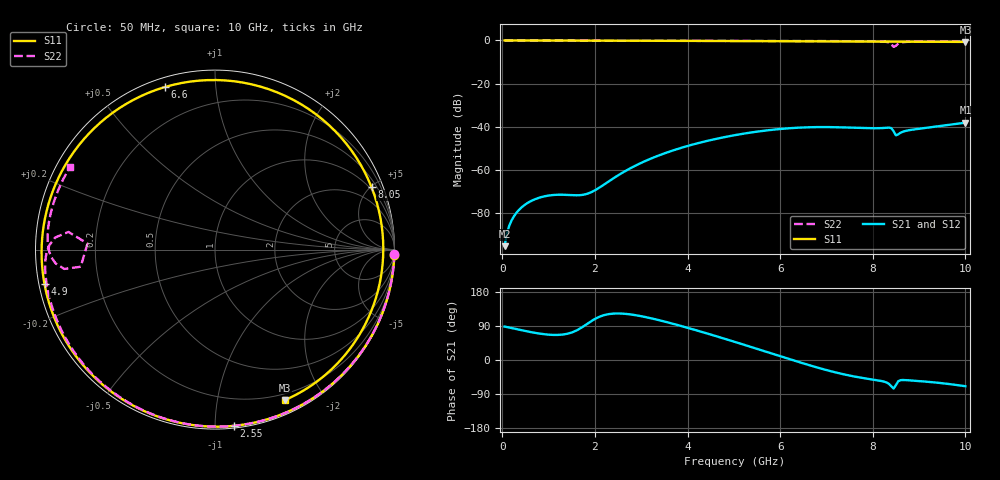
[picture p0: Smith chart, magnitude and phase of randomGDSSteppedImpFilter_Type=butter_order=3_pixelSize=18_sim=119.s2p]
! freq	dB(S11)	phase(S11)	dB(S12)	phase(S12)
!  dB(S21)	phase(S21)	dB(S22)	phase(S22)
!S-par simulation data
#  GHz  S  DB  R 50
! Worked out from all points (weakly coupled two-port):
!   200 points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, 50 MHz to 10 GHz, reference 50 ohm
!   highest |S21| = -38.06 dB at 10 GHz (marker M1); lowest = -95.2 dB at 50 MHz (marker M2)
!   lowest |S11| = -0.7 dB at 10 GHz (marker M3), VSWR 25.45, Z = 6.79 - j78.1 ohm
!   |S11| at or under -10 dB: nowhere
!   |S22| runs from -3.0 to 0.0 dB; largest |S21 - S12| = 0
!   S11 on the Smith chart (normalised r, x): 50 MHz: 1, -68; 2.55 GHz: 0.01, -1.11; 4.9 GHz: 0.02, -0.10; 6.6 GHz: 0.04, +0.74; 8.05 GHz: 0.87, +5.08; 10 GHz: 0.14, -1.56
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0.05  -0.00 -1.7  -95.20 88.2  -95.20 88.2  -0.00 -1.3
0.3  -0.01 -10.0  -79.90 81.5  -79.90 81.5  -0.01 -7.5
0.55  -0.02 -18.2  -75.16 75.1  -75.16 75.1  -0.02 -13.7
0.9  -0.04 -29.8  -72.18 68.1  -72.18 68.1  -0.03 -22.3
1.75  -0.07 -57.6  -71.40 88.5  -71.40 88.5  -0.05 -42.8
2.55  -0.11 -83.8  -61.77 122.7  -61.77 122.7  -0.08 -61.3
3.4  -0.15 -112.4  -53.06 104.7  -53.06 104.7  -0.10 -80.1
4.15  -0.20 -139.1  -47.96 79.8  -47.96 79.8  -0.13 -95.8
4.9  -0.27 -168.5  -44.31 52.4  -44.31 52.4  -0.16 -111.0
5.05  -0.29 -174.9  -43.72 46.7  -43.72 46.7  -0.17 -113.9
5.8  -0.37 150.3  -41.41 17.9  -41.41 17.9  -0.21 -128.5
6.6  -0.47 107.0  -40.19 -12.6  -40.19 -12.6  -0.26 -143.8
6.7  -0.48 101.2  -40.13 -16.2  -40.13 -16.2  -0.27 -145.7
7.3  -0.52 65.4  -40.21 -35.8  -40.21 -35.8  -0.32 -157.3
8.05  -0.55 21.7  -40.64 -52.5  -40.64 -52.5  -0.42 -173.3
8.35  -0.56 5.5  -40.34 -63.0  -40.34 -63.0  -0.99 175.7
8.45  -0.56 0.3  -42.03 -75.4  -42.03 -75.4  -2.96 177.3
8.5  -0.56 -2.2  -43.91 -66.2  -43.91 -66.2  -2.45 -172.7
8.55  -0.56 -4.7  -43.43 -56.0  -43.43 -56.0  -1.45 -172.7
8.75  -0.57 -14.5  -41.67 -53.4  -41.67 -53.4  -0.64 179.3
9.3  -0.61 -38.7  -40.05 -58.8  -40.05 -58.8  -0.57 165.8
10  -0.68 -65.0  -38.06 -69.3  -38.06 -69.3  -0.64 150.2
